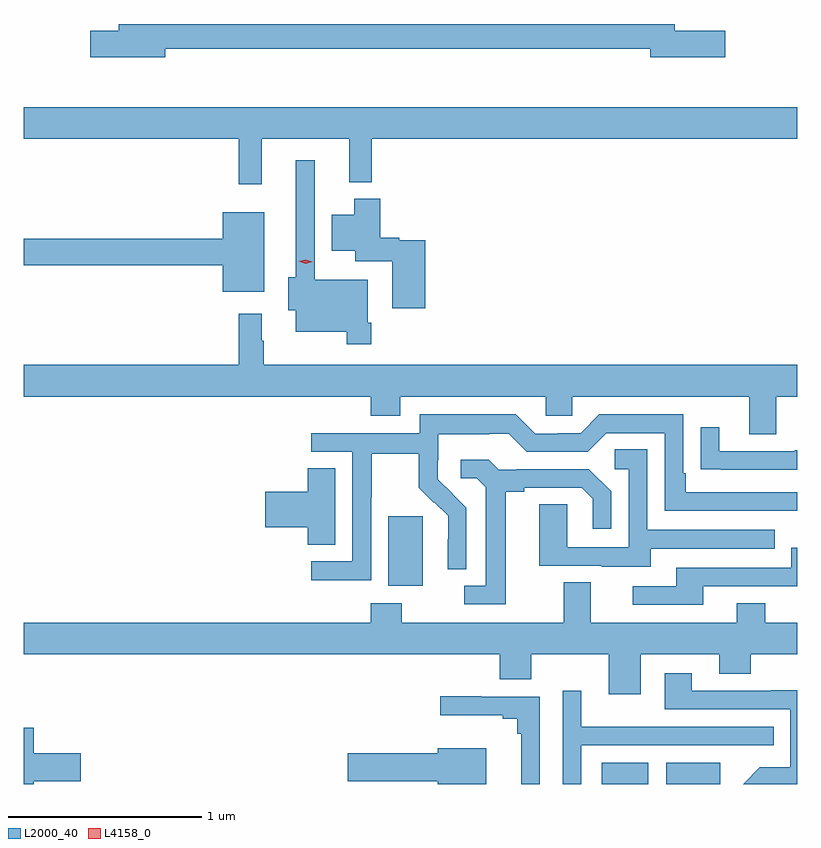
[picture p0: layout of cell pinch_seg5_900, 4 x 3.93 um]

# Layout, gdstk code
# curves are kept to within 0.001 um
import gdstk
lib = gdstk.Library(unit=1e-6, precision=1e-09)
def R(c, l, rs):  # rectangles x0, y0, x1, y1
    for r in rs: c.add(gdstk.rectangle(r[:2], r[2:], *l))
def P(c, l, *ps):  # polygons
    for p in ps: c.add(gdstk.Polygon(p, *l))
L2000_40 = (2000, 40)
L4158_0 = (4158, 0)

pinch_seg5_900 = lib.new_cell('pinch_seg5_900')
R(pinch_seg5_900, L2000_40, [(707.885,890.722,708.124,890.833), (708.218,890.722,708.496,890.833), (706.781,891.746,706.96,892.107)])
P(pinch_seg5_900, L2000_40, [(705.628,894.522),(708.134,894.522),(708.134,894.479),(708.523,894.479),(708.523,894.614),(708.262,894.614),(708.262,894.65),(705.389,894.65),(705.389,894.614),(705.24,894.614),(705.24,894.479),(705.628,894.479)],
  [(706.127,894.056),(706.58,894.056),(706.58,893.831),(706.697,893.831),(706.697,894.056),(708.896,894.056),(708.896,894.22),(704.896,894.22),(704.896,894.056),(706.009,894.056),(706.009,893.823),(706.127,893.823)],
  [(706.694,893.107),(706.674,893.107),(706.674,893.329),(706.401,893.329),(706.401,893.947),(706.304,893.947),(706.304,893.342),(706.265,893.342),(706.265,893.171),(706.304,893.171),(706.304,893.06),(706.566,893.06),(706.566,892.995),(706.694,892.995)],
  [(706.973,893.533),(706.839,893.533),(706.839,893.546),(706.739,893.546),(706.739,893.746),(706.604,893.746),(706.604,893.665),(706.49,893.665),(706.49,893.477),(706.61,893.477),(706.61,893.423),(706.802,893.423),(706.802,893.181),(706.973,893.181)],
  [(706.141,893.677),(705.926,893.677),(705.926,893.54),(704.896,893.54),(704.896,893.404),(705.926,893.404),(705.926,893.267),(706.141,893.267)],
  [(708.787,892.724),(708.896,892.724),(708.896,892.888),(706.138,892.888),(706.138,893.012),(706.126,893.012),(706.126,893.152),(706.009,893.152),(706.009,892.888),(704.896,892.888),(704.896,892.724),(706.691,892.724),(706.691,892.625),(706.843,892.625),(706.843,892.724),(707.595,892.724),(707.595,892.626),(707.733,892.626),(707.733,892.724),(708.647,892.724),(708.647,892.53),(708.787,892.53)],
  [(706.692,892.204),(706.695,892.204),(706.695,892.428),(706.939,892.428),(706.939,892.253),(707.016,892.176),(707.019,892.179),(707.09,892.109),(707.09,891.986),(707.088,891.986),(707.088,891.832),(707.184,891.832),(707.184,892.15),(707.038,892.298),(707.038,892.395),(707.04,892.395),(707.04,892.529),(707.303,892.529),(707.303,892.533),(707.403,892.533),(707.496,892.44),(707.811,892.44),(707.907,892.536),(708.21,892.536),(708.21,892.134),(708.896,892.134),(708.896,892.23),(708.319,892.23),(708.319,892.327),(708.306,892.327),(708.306,892.632),(707.871,892.632),(707.775,892.536),(707.657,892.536),(707.657,892.533),(707.541,892.533),(707.441,892.633),(706.944,892.633),(706.944,892.536),(706.383,892.536),(706.383,892.44),(706.596,892.44),(706.596,891.873),(706.383,891.873),(706.383,891.775),(706.692,891.775)],
  [(708.896,892.448),(708.883,892.448),(708.883,892.443),(708.493,892.443),(708.493,892.567),(708.397,892.567),(708.397,892.348),(708.499,892.348),(708.499,892.347),(708.896,892.347)],
  [(708.139,891.939),(708.779,891.939),(708.779,892.035),(708.12,892.035),(708.12,892.451),(707.952,892.451),(707.952,892.35),(708.024,892.35),(708.024,891.945),(707.706,891.945),(707.706,892.169),(707.561,892.169),(707.561,891.849),(707.885,891.849),(707.885,891.845),(708.139,891.845)],
  [(707.389,892.232),(707.485,892.232),(707.485,892.254),(707.78,892.254),(707.837,892.197),(707.837,892.041),(707.934,892.041),(707.934,892.234),(707.818,892.35),(707.446,892.35),(707.446,892.347),(707.352,892.347),(707.3,892.399),(707.157,892.399),(707.157,892.302),(707.238,892.302),(707.285,892.255),(707.285,891.747),(707.175,891.747),(707.175,891.651),(707.389,891.651)],
  [(706.507,892.355),(706.364,892.355),(706.364,892.232),(706.146,892.232),(706.146,892.049),(706.364,892.049),(706.364,891.958),(706.507,891.958)],
  [(708.409,891.744),(708.896,891.744),(708.896,891.943),(708.864,891.943),(708.864,891.84),(708.269,891.84),(708.269,891.744),(708.045,891.744),(708.045,891.648),(708.409,891.648)],
  [(708.085,891.392),(708.491,891.392),(708.491,891.293),(708.655,891.293),(708.655,891.392),(708.896,891.392),(708.896,891.556),(708.729,891.556),(708.729,891.655),(708.581,891.655),(708.581,891.556),(707.827,891.556),(707.827,891.764),(707.687,891.764),(707.687,891.556),(706.851,891.556),(706.851,891.655),(706.691,891.655),(706.691,891.556),(704.896,891.556),(704.896,891.392),(707.357,891.392),(707.357,891.264),(707.521,891.264),(707.521,891.392),(707.921,891.392),(707.921,891.186),(708.085,891.186)],
  [(708.896,891.206),(708.761,891.206),(708.761,891.204),(708.349,891.204),(708.349,891.295),(708.209,891.295),(708.209,891.108),(708.858,891.108),(708.858,890.808),(708.701,890.808),(708.615,890.722),(708.896,890.722)],
  [(707.778,890.922),(708.773,890.922),(708.773,891.018),(708.113,891.018),(708.113,891.019),(707.779,891.019),(707.779,891.205),(707.682,891.205),(707.682,890.722),(707.778,890.722)],
  [(707.565,891.174),(707.261,891.174),(707.261,891.176),(707.049,891.176),(707.049,891.077),(707.372,891.077),(707.372,891.058),(707.449,891.058),(707.449,890.981),(707.468,890.981),(707.468,890.722),(707.565,890.722)],
  [(704.95,890.735),(705.193,890.735),(705.193,890.882),(704.95,890.882),(704.95,891.013),(704.896,891.013),(704.896,890.722),(704.95,890.722)],
  [(707.287,890.908),(707.036,890.908),(707.036,890.882),(706.572,890.882),(706.572,890.735),(707.036,890.735),(707.036,890.722),(707.287,890.722)])
P(pinch_seg5_900, L4158_0, [(706.354,893.412),(706.318,893.423),(706.318,893.423),(706.318,893.423),(706.354,893.432),(706.389,893.422),(706.389,893.421),(706.389,893.421)])

lib.write_gds('pinch_seg5_900.gds')
